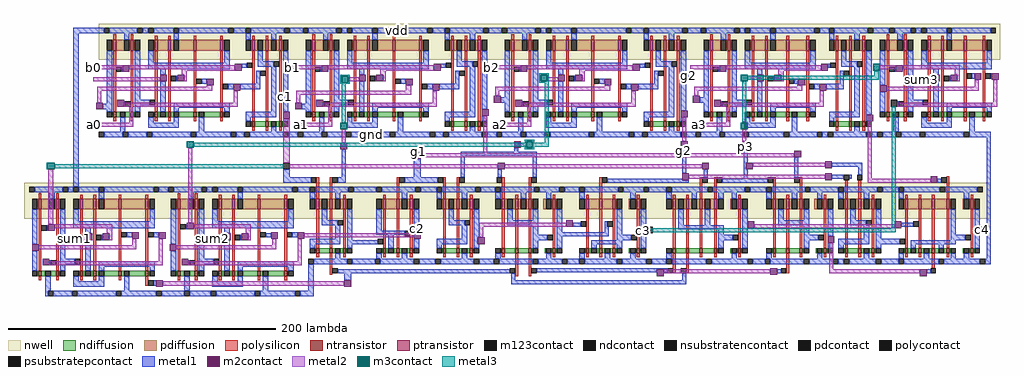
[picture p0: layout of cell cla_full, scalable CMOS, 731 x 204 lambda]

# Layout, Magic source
magic
tech scmos
<< nwell >>
rect -125 123 550 150
rect -181 4 543 31
<< ntransistor >>
rect -114 80 -112 84
rect -101 80 -99 84
rect -83 80 -81 84
rect -73 80 -71 84
rect -54 80 -52 84
rect -34 80 -32 84
rect 35 80 37 84
rect 48 80 50 84
rect 66 80 68 84
rect 76 80 78 84
rect 95 80 97 84
rect 115 80 117 84
rect 184 80 186 84
rect 197 80 199 84
rect 215 80 217 84
rect 225 80 227 84
rect 244 80 246 84
rect 264 80 266 84
rect 333 80 335 84
rect 346 80 348 84
rect 364 80 366 84
rect 374 80 376 84
rect 390 80 392 84
rect 405 80 407 84
rect 465 80 467 84
rect 478 80 480 84
rect 496 80 498 84
rect 506 80 508 84
rect 523 80 525 84
rect 537 80 539 84
rect -10 73 -8 77
rect 0 73 2 77
rect 10 73 12 77
rect 139 73 141 77
rect 149 73 151 77
rect 159 73 161 77
rect 288 73 290 77
rect 298 73 300 77
rect 308 73 310 77
rect 427 73 429 77
rect 437 73 439 77
rect 447 73 449 77
rect 38 -22 40 -18
rect 48 -22 50 -18
rect 58 -22 60 -18
rect 88 -22 90 -18
rect 98 -22 100 -18
rect 108 -22 110 -18
rect 133 -22 135 -18
rect 143 -22 145 -18
rect 153 -22 155 -18
rect 177 -22 179 -18
rect 187 -22 189 -18
rect 197 -22 199 -18
rect 215 -22 217 -18
rect 240 -22 242 -18
rect 250 -22 252 -18
rect 260 -22 262 -18
rect 278 -22 280 -18
rect 305 -22 307 -18
rect 315 -22 317 -18
rect 325 -22 327 -18
rect 336 -22 338 -18
rect 354 -22 356 -18
rect 380 -22 382 -18
rect 390 -22 392 -18
rect 400 -22 402 -18
rect 418 -22 420 -18
rect 434 -22 436 -18
rect 444 -22 446 -18
rect 454 -22 456 -18
rect 479 -22 481 -18
rect 489 -22 491 -18
rect 499 -22 501 -18
rect 510 -22 512 -18
rect 528 -22 530 -18
rect -170 -39 -168 -35
rect -157 -39 -155 -35
rect -139 -39 -137 -35
rect -129 -39 -127 -35
rect -110 -39 -108 -35
rect -90 -39 -88 -35
rect -66 -39 -64 -35
rect -53 -39 -51 -35
rect -35 -39 -33 -35
rect -25 -39 -23 -35
rect -6 -39 -4 -35
rect 14 -39 16 -35
<< ptransistor >>
rect -114 130 -112 138
rect -101 130 -99 138
rect -83 130 -81 138
rect -73 130 -71 138
rect -54 130 -52 138
rect -34 130 -32 138
rect -10 130 -8 138
rect 0 130 2 138
rect 10 130 12 138
rect 35 130 37 138
rect 48 130 50 138
rect 66 130 68 138
rect 76 130 78 138
rect 95 130 97 138
rect 115 130 117 138
rect 139 130 141 138
rect 149 130 151 138
rect 159 130 161 138
rect 184 130 186 138
rect 197 130 199 138
rect 215 130 217 138
rect 225 130 227 138
rect 244 130 246 138
rect 264 130 266 138
rect 288 130 290 138
rect 298 130 300 138
rect 308 130 310 138
rect 333 130 335 138
rect 346 130 348 138
rect 364 130 366 138
rect 374 130 376 138
rect 390 130 392 138
rect 405 130 407 138
rect 427 130 429 138
rect 437 130 439 138
rect 447 130 449 138
rect 465 130 467 138
rect 478 130 480 138
rect 496 130 498 138
rect 506 130 508 138
rect 523 130 525 138
rect 537 130 539 138
rect -170 11 -168 19
rect -157 11 -155 19
rect -139 11 -137 19
rect -129 11 -127 19
rect -110 11 -108 19
rect -90 11 -88 19
rect -66 11 -64 19
rect -53 11 -51 19
rect -35 11 -33 19
rect -25 11 -23 19
rect -6 11 -4 19
rect 14 11 16 19
rect 38 11 40 19
rect 48 11 50 19
rect 58 11 60 19
rect 88 11 90 19
rect 98 11 100 19
rect 108 11 110 19
rect 133 11 135 19
rect 143 11 145 19
rect 153 11 155 19
rect 177 11 179 19
rect 187 11 189 19
rect 197 11 199 19
rect 215 11 217 19
rect 240 11 242 19
rect 250 11 252 19
rect 260 11 262 19
rect 278 11 280 19
rect 305 11 307 19
rect 315 11 317 19
rect 325 11 327 19
rect 336 11 338 19
rect 354 11 356 19
rect 380 11 382 19
rect 390 11 392 19
rect 400 11 402 19
rect 418 11 420 19
rect 434 11 436 19
rect 444 11 446 19
rect 454 11 456 19
rect 479 11 481 19
rect 489 11 491 19
rect 499 11 501 19
rect 510 11 512 19
rect 528 11 530 19
<< ndiffusion >>
rect -115 80 -114 84
rect -112 80 -109 84
rect -105 80 -101 84
rect -99 80 -98 84
rect -84 80 -83 84
rect -81 80 -79 84
rect -75 80 -73 84
rect -71 80 -69 84
rect -65 80 -54 84
rect -52 80 -50 84
rect -46 80 -34 84
rect -32 80 -31 84
rect 34 80 35 84
rect 37 80 40 84
rect 44 80 48 84
rect 50 80 51 84
rect 65 80 66 84
rect 68 80 70 84
rect 74 80 76 84
rect 78 80 80 84
rect 84 80 95 84
rect 97 80 99 84
rect 103 80 115 84
rect 117 80 118 84
rect 183 80 184 84
rect 186 80 189 84
rect 193 80 197 84
rect 199 80 200 84
rect 214 80 215 84
rect 217 80 219 84
rect 223 80 225 84
rect 227 80 229 84
rect 233 80 244 84
rect 246 80 248 84
rect 252 80 264 84
rect 266 80 267 84
rect 332 80 333 84
rect 335 80 338 84
rect 342 80 346 84
rect 348 80 349 84
rect 363 80 364 84
rect 366 80 368 84
rect 372 80 374 84
rect 376 80 378 84
rect 382 80 390 84
rect 392 80 394 84
rect 398 80 405 84
rect 407 80 408 84
rect 464 80 465 84
rect 467 80 470 84
rect 474 80 478 84
rect 480 80 481 84
rect 495 80 496 84
rect 498 80 500 84
rect 504 80 506 84
rect 508 80 510 84
rect 514 80 523 84
rect 525 80 527 84
rect 531 80 537 84
rect 539 80 540 84
rect -11 73 -10 77
rect -8 73 0 77
rect 2 73 4 77
rect 8 73 10 77
rect 12 73 13 77
rect 138 73 139 77
rect 141 73 149 77
rect 151 73 153 77
rect 157 73 159 77
rect 161 73 162 77
rect 287 73 288 77
rect 290 73 298 77
rect 300 73 302 77
rect 306 73 308 77
rect 310 73 311 77
rect 426 73 427 77
rect 429 73 437 77
rect 439 73 441 77
rect 445 73 447 77
rect 449 73 450 77
rect 37 -22 38 -18
rect 40 -22 48 -18
rect 50 -22 52 -18
rect 56 -22 58 -18
rect 60 -22 61 -18
rect 87 -22 88 -18
rect 90 -22 92 -18
rect 96 -22 98 -18
rect 100 -22 102 -18
rect 106 -22 108 -18
rect 110 -22 111 -18
rect 132 -22 133 -18
rect 135 -22 143 -18
rect 145 -22 147 -18
rect 151 -22 153 -18
rect 155 -22 156 -18
rect 176 -22 177 -18
rect 179 -22 187 -18
rect 189 -22 197 -18
rect 199 -22 200 -18
rect 209 -22 210 -18
rect 214 -22 215 -18
rect 217 -22 218 -18
rect 239 -22 240 -18
rect 242 -22 244 -18
rect 248 -22 250 -18
rect 252 -22 254 -18
rect 258 -22 260 -18
rect 262 -22 263 -18
rect 272 -22 273 -18
rect 277 -22 278 -18
rect 280 -22 281 -18
rect 304 -22 305 -18
rect 307 -22 315 -18
rect 317 -22 325 -18
rect 327 -22 336 -18
rect 338 -22 339 -18
rect 348 -22 349 -18
rect 353 -22 354 -18
rect 356 -22 357 -18
rect 379 -22 380 -18
rect 382 -22 390 -18
rect 392 -22 400 -18
rect 402 -22 403 -18
rect 412 -22 413 -18
rect 417 -22 418 -18
rect 420 -22 421 -18
rect 433 -22 434 -18
rect 436 -22 444 -18
rect 446 -22 448 -18
rect 452 -22 454 -18
rect 456 -22 457 -18
rect 478 -22 479 -18
rect 481 -22 483 -18
rect 487 -22 489 -18
rect 491 -22 493 -18
rect 497 -22 499 -18
rect 501 -22 504 -18
rect 508 -22 510 -18
rect 512 -22 513 -18
rect 522 -22 523 -18
rect 527 -22 528 -18
rect 530 -22 531 -18
rect -171 -39 -170 -35
rect -168 -39 -165 -35
rect -161 -39 -157 -35
rect -155 -39 -154 -35
rect -140 -39 -139 -35
rect -137 -39 -135 -35
rect -131 -39 -129 -35
rect -127 -39 -125 -35
rect -121 -39 -110 -35
rect -108 -39 -106 -35
rect -102 -39 -90 -35
rect -88 -39 -87 -35
rect -67 -39 -66 -35
rect -64 -39 -61 -35
rect -57 -39 -53 -35
rect -51 -39 -50 -35
rect -36 -39 -35 -35
rect -33 -39 -31 -35
rect -27 -39 -25 -35
rect -23 -39 -21 -35
rect -17 -39 -6 -35
rect -4 -39 -2 -35
rect 2 -39 14 -35
rect 16 -39 17 -35
<< pdiffusion >>
rect -115 130 -114 138
rect -112 130 -106 138
rect -102 130 -101 138
rect -99 130 -98 138
rect -84 130 -83 138
rect -81 130 -73 138
rect -71 130 -69 138
rect -65 130 -54 138
rect -52 130 -34 138
rect -32 130 -31 138
rect -11 130 -10 138
rect -8 130 -6 138
rect -2 130 0 138
rect 2 130 4 138
rect 8 130 10 138
rect 12 130 13 138
rect 34 130 35 138
rect 37 130 43 138
rect 47 130 48 138
rect 50 130 51 138
rect 65 130 66 138
rect 68 130 76 138
rect 78 130 80 138
rect 84 130 95 138
rect 97 130 115 138
rect 117 130 118 138
rect 138 130 139 138
rect 141 130 143 138
rect 147 130 149 138
rect 151 130 153 138
rect 157 130 159 138
rect 161 130 162 138
rect 183 130 184 138
rect 186 130 192 138
rect 196 130 197 138
rect 199 130 200 138
rect 214 130 215 138
rect 217 130 225 138
rect 227 130 229 138
rect 233 130 244 138
rect 246 130 264 138
rect 266 130 267 138
rect 287 130 288 138
rect 290 130 292 138
rect 296 130 298 138
rect 300 130 302 138
rect 306 130 308 138
rect 310 130 311 138
rect 332 130 333 138
rect 335 130 341 138
rect 345 130 346 138
rect 348 130 349 138
rect 363 130 364 138
rect 366 130 374 138
rect 376 130 378 138
rect 382 130 390 138
rect 392 130 405 138
rect 407 130 408 138
rect 426 130 427 138
rect 429 130 431 138
rect 435 130 437 138
rect 439 130 441 138
rect 445 130 447 138
rect 449 130 450 138
rect 464 130 465 138
rect 467 130 473 138
rect 477 130 478 138
rect 480 130 481 138
rect 495 130 496 138
rect 498 130 506 138
rect 508 130 510 138
rect 514 130 523 138
rect 525 130 537 138
rect 539 130 540 138
rect -171 11 -170 19
rect -168 11 -162 19
rect -158 11 -157 19
rect -155 11 -154 19
rect -140 11 -139 19
rect -137 11 -129 19
rect -127 11 -125 19
rect -121 11 -110 19
rect -108 11 -90 19
rect -88 11 -87 19
rect -67 11 -66 19
rect -64 11 -58 19
rect -54 11 -53 19
rect -51 11 -50 19
rect -36 11 -35 19
rect -33 11 -25 19
rect -23 11 -21 19
rect -17 11 -6 19
rect -4 11 14 19
rect 16 11 17 19
rect 37 11 38 19
rect 40 11 42 19
rect 46 11 48 19
rect 50 11 52 19
rect 56 11 58 19
rect 60 11 61 19
rect 87 11 88 19
rect 90 11 98 19
rect 100 11 102 19
rect 106 11 108 19
rect 110 11 111 19
rect 132 11 133 19
rect 135 11 137 19
rect 141 11 143 19
rect 145 11 147 19
rect 151 11 153 19
rect 155 11 156 19
rect 176 11 177 19
rect 179 11 181 19
rect 185 11 187 19
rect 189 11 191 19
rect 195 11 197 19
rect 199 11 200 19
rect 208 11 210 19
rect 214 11 215 19
rect 217 11 218 19
rect 239 11 240 19
rect 242 11 250 19
rect 252 11 260 19
rect 262 11 263 19
rect 272 11 273 19
rect 277 11 278 19
rect 280 11 281 19
rect 304 11 305 19
rect 307 11 309 19
rect 313 11 315 19
rect 317 11 319 19
rect 323 11 325 19
rect 327 11 329 19
rect 333 11 336 19
rect 338 11 339 19
rect 348 11 349 19
rect 353 11 354 19
rect 356 11 357 19
rect 379 11 380 19
rect 382 11 384 19
rect 388 11 390 19
rect 392 11 394 19
rect 398 11 400 19
rect 402 11 403 19
rect 411 11 413 19
rect 417 11 418 19
rect 420 11 421 19
rect 433 11 434 19
rect 436 11 438 19
rect 442 11 444 19
rect 446 11 448 19
rect 452 11 454 19
rect 456 11 457 19
rect 478 11 479 19
rect 481 11 489 19
rect 491 11 499 19
rect 501 11 510 19
rect 512 11 513 19
rect 522 11 523 19
rect 527 11 528 19
rect 530 11 531 19
<< ndcontact >>
rect -119 80 -115 84
rect -109 80 -105 84
rect -98 80 -94 84
rect -88 80 -84 84
rect -79 80 -75 84
rect -69 80 -65 84
rect -50 80 -46 84
rect -31 80 -27 84
rect 30 80 34 84
rect 40 80 44 84
rect 51 80 55 84
rect 61 80 65 84
rect 70 80 74 84
rect 80 80 84 84
rect 99 80 103 84
rect 118 80 122 84
rect 179 80 183 84
rect 189 80 193 84
rect 200 80 204 84
rect 210 80 214 84
rect 219 80 223 84
rect 229 80 233 84
rect 248 80 252 84
rect 267 80 271 84
rect 328 80 332 84
rect 338 80 342 84
rect 349 80 353 84
rect 359 80 363 84
rect 368 80 372 84
rect 378 80 382 84
rect 394 80 398 84
rect 408 80 412 84
rect 460 80 464 84
rect 470 80 474 84
rect 481 80 485 84
rect 491 80 495 84
rect 500 80 504 84
rect 510 80 514 84
rect 527 80 531 84
rect 540 80 544 84
rect -15 73 -11 77
rect 4 73 8 77
rect 13 73 17 77
rect 134 73 138 77
rect 153 73 157 77
rect 162 73 166 77
rect 283 73 287 77
rect 302 73 306 77
rect 311 73 315 77
rect 422 73 426 77
rect 441 73 445 77
rect 450 73 454 77
rect 33 -22 37 -18
rect 52 -22 56 -18
rect 61 -22 65 -18
rect 83 -22 87 -18
rect 92 -22 96 -18
rect 102 -22 106 -18
rect 111 -22 115 -18
rect 128 -22 132 -18
rect 147 -22 151 -18
rect 156 -22 160 -18
rect 172 -22 176 -18
rect 200 -22 204 -18
rect 210 -22 214 -18
rect 218 -22 222 -18
rect 235 -22 239 -18
rect 244 -22 248 -18
rect 254 -22 258 -18
rect 263 -22 267 -18
rect 273 -22 277 -18
rect 281 -22 285 -18
rect 300 -22 304 -18
rect 339 -22 343 -18
rect 349 -22 353 -18
rect 357 -22 361 -18
rect 375 -22 379 -18
rect 403 -22 407 -18
rect 413 -22 417 -18
rect 421 -22 425 -18
rect 429 -22 433 -18
rect 448 -22 452 -18
rect 457 -22 461 -18
rect 474 -22 478 -18
rect 483 -22 487 -18
rect 493 -22 497 -18
rect 504 -22 508 -18
rect 513 -22 517 -18
rect 523 -22 527 -18
rect 531 -22 535 -18
rect -175 -39 -171 -35
rect -165 -39 -161 -35
rect -154 -39 -150 -35
rect -144 -39 -140 -35
rect -135 -39 -131 -35
rect -125 -39 -121 -35
rect -106 -39 -102 -35
rect -87 -39 -83 -35
rect -71 -39 -67 -35
rect -61 -39 -57 -35
rect -50 -39 -46 -35
rect -40 -39 -36 -35
rect -31 -39 -27 -35
rect -21 -39 -17 -35
rect -2 -39 2 -35
rect 17 -39 21 -35
<< pdcontact >>
rect -119 130 -115 138
rect -106 130 -102 138
rect -98 130 -94 138
rect -88 130 -84 138
rect -69 130 -65 138
rect -31 130 -27 138
rect -15 130 -11 138
rect -6 130 -2 138
rect 4 130 8 138
rect 13 130 17 138
rect 30 130 34 138
rect 43 130 47 138
rect 51 130 55 138
rect 61 130 65 138
rect 80 130 84 138
rect 118 130 122 138
rect 134 130 138 138
rect 143 130 147 138
rect 153 130 157 138
rect 162 130 166 138
rect 179 130 183 138
rect 192 130 196 138
rect 200 130 204 138
rect 210 130 214 138
rect 229 130 233 138
rect 267 130 271 138
rect 283 130 287 138
rect 292 130 296 138
rect 302 130 306 138
rect 311 130 315 138
rect 328 130 332 138
rect 341 130 345 138
rect 349 130 353 138
rect 359 130 363 138
rect 378 130 382 138
rect 408 130 412 138
rect 422 130 426 138
rect 431 130 435 138
rect 441 130 445 138
rect 450 130 454 138
rect 460 130 464 138
rect 473 130 477 138
rect 481 130 485 138
rect 491 130 495 138
rect 510 130 514 138
rect 540 130 544 138
rect -175 11 -171 19
rect -162 11 -158 19
rect -154 11 -150 19
rect -144 11 -140 19
rect -125 11 -121 19
rect -87 11 -83 19
rect -71 11 -67 19
rect -58 11 -54 19
rect -50 11 -46 19
rect -40 11 -36 19
rect -21 11 -17 19
rect 17 11 21 19
rect 33 11 37 19
rect 42 11 46 19
rect 52 11 56 19
rect 61 11 65 19
rect 83 11 87 19
rect 102 11 106 19
rect 111 11 115 19
rect 128 11 132 19
rect 137 11 141 19
rect 147 11 151 19
rect 156 11 160 19
rect 172 11 176 19
rect 181 11 185 19
rect 191 11 195 19
rect 200 11 204 19
rect 210 11 214 19
rect 218 11 222 19
rect 235 11 239 19
rect 263 11 267 19
rect 273 11 277 19
rect 281 11 285 19
rect 300 11 304 19
rect 309 11 313 19
rect 319 11 323 19
rect 329 11 333 19
rect 339 11 343 19
rect 349 11 353 19
rect 357 11 361 19
rect 375 11 379 19
rect 384 11 388 19
rect 394 11 398 19
rect 403 11 407 19
rect 413 11 417 19
rect 421 11 425 19
rect 429 11 433 19
rect 438 11 442 19
rect 448 11 452 19
rect 457 11 461 19
rect 474 11 478 19
rect 513 11 517 19
rect 523 11 527 19
rect 531 11 535 19
<< psubstratepcontact >>
rect -125 65 -121 69
rect -107 65 -103 69
rect -89 65 -85 69
rect -56 65 -52 69
rect -26 65 -22 69
rect -16 65 -12 69
rect 13 65 17 69
rect 24 65 28 69
rect 42 65 46 69
rect 60 65 64 69
rect 93 65 97 69
rect 123 65 127 69
rect 133 65 137 69
rect 162 65 166 69
rect 173 65 177 69
rect 191 65 195 69
rect 209 65 213 69
rect 242 65 246 69
rect 272 65 276 69
rect 282 65 286 69
rect 311 65 315 69
rect 322 65 326 69
rect 340 65 344 69
rect 358 65 362 69
rect 388 65 392 69
rect 413 65 417 69
rect 421 65 425 69
rect 450 65 454 69
rect 458 65 462 69
rect 472 65 476 69
rect 490 65 494 69
rect 523 65 527 69
rect 32 -30 36 -26
rect 61 -30 65 -26
rect 82 -30 86 -26
rect 111 -30 115 -26
rect 127 -30 131 -26
rect 156 -30 160 -26
rect 171 -30 175 -26
rect 200 -30 204 -26
rect 222 -30 226 -26
rect 235 -30 239 -26
rect 263 -30 267 -26
rect 285 -30 289 -26
rect 300 -30 304 -26
rect 330 -30 334 -26
rect 361 -30 365 -26
rect 374 -30 378 -26
rect 403 -30 407 -26
rect 425 -30 429 -26
rect 433 -30 437 -26
rect 457 -30 461 -26
rect 474 -30 478 -26
rect 504 -30 508 -26
rect 535 -30 539 -26
rect -163 -54 -159 -50
rect -145 -54 -141 -50
rect -112 -54 -108 -50
rect -82 -54 -78 -50
rect -61 -54 -57 -50
rect -41 -54 -37 -50
rect -8 -54 -4 -50
rect 22 -54 26 -50
<< nsubstratencontact >>
rect -121 143 -117 147
rect -96 143 -92 147
rect -88 143 -84 147
rect -69 143 -65 147
rect -28 143 -24 147
rect -15 143 -11 147
rect 14 143 18 147
rect 28 143 32 147
rect 53 143 57 147
rect 61 143 65 147
rect 80 143 84 147
rect 121 143 125 147
rect 134 143 138 147
rect 163 143 167 147
rect 177 143 181 147
rect 202 143 206 147
rect 210 143 214 147
rect 229 143 233 147
rect 270 143 274 147
rect 283 143 287 147
rect 312 143 316 147
rect 326 143 330 147
rect 351 143 355 147
rect 359 143 363 147
rect 378 143 382 147
rect 411 143 415 147
rect 422 143 426 147
rect 451 143 455 147
rect 467 143 471 147
rect 483 143 487 147
rect 491 143 495 147
rect 510 143 514 147
rect 543 143 547 147
rect -177 24 -173 28
rect -152 24 -148 28
rect -144 24 -140 28
rect -125 24 -121 28
rect -84 24 -80 28
rect -73 24 -69 28
rect -48 24 -44 28
rect -40 24 -36 28
rect -21 24 -17 28
rect 20 24 24 28
rect 33 24 37 28
rect 62 24 66 28
rect 83 24 87 28
rect 112 24 116 28
rect 128 24 132 28
rect 157 24 161 28
rect 172 24 176 28
rect 201 24 205 28
rect 220 24 224 28
rect 235 24 239 28
rect 264 24 268 28
rect 283 24 287 28
rect 300 24 304 28
rect 331 24 335 28
rect 359 24 363 28
rect 375 24 379 28
rect 404 24 408 28
rect 429 24 433 28
rect 458 24 462 28
rect 474 24 478 28
rect 505 24 509 28
rect 533 24 537 28
<< polysilicon >>
rect -114 138 -112 142
rect -101 138 -99 142
rect -83 138 -81 141
rect -73 138 -71 141
rect -54 138 -52 141
rect -34 138 -32 141
rect -10 138 -8 141
rect 0 138 2 141
rect 10 138 12 141
rect 35 138 37 142
rect 48 138 50 142
rect 66 138 68 141
rect 76 138 78 141
rect 95 138 97 141
rect 115 138 117 141
rect 139 138 141 141
rect 149 138 151 141
rect 159 138 161 141
rect 184 138 186 142
rect 197 138 199 142
rect 215 138 217 141
rect 225 138 227 141
rect 244 138 246 141
rect 264 138 266 141
rect 288 138 290 141
rect 298 138 300 141
rect 308 138 310 141
rect 333 138 335 142
rect 346 138 348 142
rect 364 138 366 141
rect 374 138 376 141
rect 390 138 392 141
rect 405 138 407 141
rect 427 138 429 141
rect 437 138 439 141
rect 447 138 449 141
rect 465 138 467 142
rect 478 138 480 142
rect 496 138 498 141
rect 506 138 508 141
rect 523 138 525 141
rect 537 138 539 141
rect -114 84 -112 130
rect -101 84 -99 130
rect -83 84 -81 130
rect -73 84 -71 130
rect -54 84 -52 130
rect -34 84 -32 130
rect -114 77 -112 80
rect -101 77 -99 80
rect -83 77 -81 80
rect -73 77 -71 80
rect -54 77 -52 80
rect -34 77 -32 80
rect -10 77 -8 130
rect 0 77 2 130
rect 10 77 12 130
rect 35 84 37 130
rect 48 84 50 130
rect 66 84 68 130
rect 76 84 78 130
rect 95 84 97 130
rect 115 84 117 130
rect 35 77 37 80
rect 48 77 50 80
rect 66 77 68 80
rect 76 77 78 80
rect 95 77 97 80
rect 115 77 117 80
rect 139 77 141 130
rect 149 77 151 130
rect 159 77 161 130
rect 184 84 186 130
rect 197 84 199 130
rect 215 84 217 130
rect 225 84 227 130
rect 244 84 246 130
rect 264 84 266 130
rect 184 77 186 80
rect 197 77 199 80
rect 215 77 217 80
rect 225 77 227 80
rect 244 77 246 80
rect 264 77 266 80
rect 288 77 290 130
rect 298 77 300 130
rect 308 77 310 130
rect 333 84 335 130
rect 346 84 348 130
rect 364 84 366 130
rect 374 84 376 130
rect 390 84 392 130
rect 405 84 407 130
rect 333 77 335 80
rect 346 77 348 80
rect 364 77 366 80
rect 374 77 376 80
rect 390 77 392 80
rect 405 77 407 80
rect 427 77 429 130
rect 437 77 439 130
rect 447 77 449 130
rect 465 84 467 130
rect 478 84 480 130
rect 496 84 498 130
rect 506 84 508 130
rect 523 84 525 130
rect 537 84 539 130
rect 465 77 467 80
rect 478 77 480 80
rect 496 77 498 80
rect 506 77 508 80
rect 523 77 525 80
rect 537 77 539 80
rect -10 70 -8 73
rect 0 70 2 73
rect 10 70 12 73
rect 139 70 141 73
rect 149 70 151 73
rect 159 70 161 73
rect 288 70 290 73
rect 298 70 300 73
rect 308 70 310 73
rect 427 70 429 73
rect 437 70 439 73
rect 447 70 449 73
rect -170 19 -168 23
rect -157 19 -155 23
rect -139 19 -137 22
rect -129 19 -127 22
rect -110 19 -108 22
rect -90 19 -88 22
rect -66 19 -64 23
rect -53 19 -51 23
rect -35 19 -33 22
rect -25 19 -23 22
rect -6 19 -4 22
rect 14 19 16 22
rect 38 19 40 35
rect 48 19 50 35
rect 58 19 60 22
rect 88 19 90 22
rect 98 19 100 35
rect 108 19 110 22
rect 133 19 135 35
rect 143 19 145 35
rect 153 19 155 22
rect 177 19 179 35
rect 187 19 189 22
rect 197 19 199 35
rect 215 19 217 22
rect 240 19 242 22
rect 250 19 252 35
rect 260 19 262 22
rect 278 19 280 22
rect 305 19 307 22
rect 315 19 317 22
rect 325 19 327 35
rect 336 19 338 35
rect 354 19 356 22
rect 380 19 382 35
rect 390 19 392 22
rect 400 19 402 35
rect 418 19 420 22
rect 434 19 436 33
rect 444 19 446 33
rect 454 19 456 22
rect 479 19 481 22
rect 489 19 491 22
rect 499 19 501 22
rect 510 19 512 36
rect 528 19 530 22
rect -170 -35 -168 11
rect -157 -35 -155 11
rect -139 -35 -137 11
rect -129 -35 -127 11
rect -110 -35 -108 11
rect -90 -35 -88 11
rect -66 -35 -64 11
rect -53 -35 -51 11
rect -35 -35 -33 11
rect -25 -35 -23 11
rect -6 -35 -4 11
rect 14 -35 16 11
rect 38 -18 40 11
rect 48 -18 50 11
rect 58 -18 60 11
rect 88 -18 90 11
rect 98 -18 100 11
rect 108 -18 110 11
rect 133 -18 135 11
rect 143 -18 145 11
rect 153 -18 155 11
rect 177 -18 179 11
rect 187 -18 189 11
rect 197 -18 199 11
rect 215 -18 217 11
rect 240 -18 242 11
rect 250 -18 252 11
rect 260 -18 262 11
rect 278 -18 280 11
rect 305 -18 307 11
rect 315 -18 317 11
rect 325 -18 327 11
rect 336 -18 338 11
rect 354 -18 356 11
rect 380 -18 382 11
rect 390 -18 392 11
rect 400 -18 402 11
rect 418 -18 420 11
rect 434 -18 436 11
rect 444 -18 446 11
rect 454 -18 456 11
rect 479 -18 481 11
rect 489 -18 491 11
rect 499 -18 501 11
rect 510 -18 512 11
rect 528 -18 530 11
rect 38 -25 40 -22
rect 48 -38 50 -22
rect 58 -25 60 -22
rect 88 -25 90 -22
rect 98 -25 100 -22
rect 108 -25 110 -22
rect 133 -25 135 -22
rect 143 -25 145 -22
rect 153 -25 155 -22
rect 177 -25 179 -22
rect 187 -39 189 -22
rect 197 -39 199 -22
rect 215 -25 217 -22
rect 240 -25 242 -22
rect 250 -25 252 -22
rect 260 -25 262 -22
rect 278 -25 280 -22
rect 305 -37 307 -22
rect 315 -37 317 -22
rect 325 -25 327 -22
rect 336 -25 338 -22
rect 354 -25 356 -22
rect 380 -25 382 -22
rect 390 -37 392 -22
rect 400 -25 402 -22
rect 418 -25 420 -22
rect 434 -25 436 -22
rect 444 -25 446 -22
rect 454 -25 456 -22
rect 479 -25 481 -22
rect 489 -25 491 -22
rect 499 -33 501 -22
rect 510 -25 512 -22
rect 528 -25 530 -22
rect -170 -42 -168 -39
rect -157 -42 -155 -39
rect -139 -42 -137 -39
rect -129 -42 -127 -39
rect -110 -42 -108 -39
rect -90 -46 -88 -39
rect -66 -42 -64 -39
rect -53 -42 -51 -39
rect -35 -42 -33 -39
rect -25 -42 -23 -39
rect -6 -42 -4 -39
rect 14 -42 16 -39
<< polycontact >>
rect -112 114 -108 118
rect -105 88 -101 92
rect -87 89 -83 93
rect -71 107 -67 111
rect -52 105 -48 109
rect -14 117 -10 121
rect -32 101 -28 105
rect -4 111 0 115
rect 6 118 10 122
rect 37 114 41 118
rect 44 88 48 92
rect 62 89 66 93
rect 78 107 82 111
rect 97 105 101 109
rect 135 117 139 121
rect 117 101 121 105
rect 145 111 149 115
rect 155 118 159 122
rect 186 114 190 118
rect 193 88 197 92
rect 211 89 215 93
rect 227 107 231 111
rect 246 105 250 109
rect 284 117 288 121
rect 266 101 270 105
rect 294 111 298 115
rect 304 118 308 122
rect 335 114 339 118
rect 342 88 346 92
rect 360 89 364 93
rect 376 107 380 111
rect 392 105 396 109
rect 423 117 427 121
rect 407 101 411 105
rect 433 111 437 115
rect 443 118 447 122
rect 467 114 471 118
rect 474 88 478 92
rect 492 89 496 93
rect 508 107 512 111
rect 525 109 529 113
rect 539 109 543 113
rect 34 31 38 35
rect 50 31 54 35
rect 100 31 104 35
rect 129 31 133 35
rect 145 31 149 35
rect 173 31 177 35
rect 199 31 203 35
rect 252 31 256 35
rect 327 31 331 35
rect 338 31 342 35
rect 376 31 380 35
rect 396 31 400 35
rect 433 33 437 37
rect 443 33 447 37
rect 506 31 510 35
rect -168 -5 -164 -1
rect -161 -31 -157 -27
rect -143 -30 -139 -26
rect -127 -12 -123 -8
rect -108 -10 -104 -6
rect -88 -10 -84 -6
rect -64 -4 -60 0
rect -57 -31 -53 -27
rect -39 -30 -35 -26
rect -23 -12 -19 -8
rect -4 -10 0 -6
rect 16 -10 20 -6
rect 54 -1 58 3
rect 84 -15 88 -11
rect 104 -9 108 -5
rect 149 -1 153 3
rect 211 -12 215 -8
rect 236 -2 240 2
rect 256 -2 260 2
rect 274 -12 278 -8
rect 350 -12 354 -8
rect 414 -12 418 -8
rect 450 -1 454 3
rect 475 -15 479 -11
rect 485 -2 489 2
rect 524 -12 528 -8
rect 50 -37 54 -33
rect 183 -37 187 -33
rect 199 -37 203 -33
rect 301 -37 305 -33
rect 311 -37 315 -33
rect 386 -37 390 -33
rect 498 -37 502 -33
rect -88 -46 -84 -42
<< metal1 >>
rect -144 143 -121 147
rect -117 143 -96 147
rect -92 143 -88 147
rect -84 143 -69 147
rect -65 143 -28 147
rect -24 143 -15 147
rect -11 143 14 147
rect 18 143 28 147
rect 32 143 53 147
rect 57 143 61 147
rect 65 143 80 147
rect 84 143 121 147
rect 125 143 134 147
rect 138 143 163 147
rect 167 143 177 147
rect 181 143 202 147
rect 206 143 210 147
rect 214 143 229 147
rect 233 143 270 147
rect 274 143 283 147
rect 287 143 312 147
rect 316 143 326 147
rect 330 143 351 147
rect 355 143 359 147
rect 363 143 378 147
rect 382 143 411 147
rect 415 143 422 147
rect 426 143 451 147
rect 455 143 467 147
rect 471 143 483 147
rect 487 143 491 147
rect 495 143 510 147
rect 514 143 543 147
rect -144 28 -140 143
rect -106 138 -102 143
rect -69 138 -65 143
rect -15 138 -11 143
rect 4 138 8 143
rect 43 138 47 143
rect 80 138 84 143
rect 134 138 138 143
rect 153 138 157 143
rect 192 138 196 143
rect 229 138 233 143
rect 283 138 287 143
rect 302 138 306 143
rect 341 138 345 143
rect 378 138 382 143
rect 422 138 426 143
rect 441 138 445 143
rect 473 138 477 143
rect 510 138 514 143
rect -119 90 -115 130
rect -108 114 -107 118
rect -98 93 -94 130
rect -88 121 -84 130
rect -31 121 -27 130
rect -6 122 -2 130
rect -88 116 -27 121
rect -79 112 -75 116
rect -18 117 -14 120
rect -6 118 6 122
rect -67 107 -66 111
rect -122 86 -115 90
rect -106 88 -105 92
rect -98 89 -87 93
rect -119 84 -115 86
rect -98 84 -94 89
rect -79 84 -75 107
rect -48 105 -44 109
rect -7 105 -4 115
rect -28 101 -24 105
rect -19 101 -4 105
rect -69 87 -27 91
rect -69 84 -65 87
rect -31 84 -27 87
rect 4 84 8 118
rect -109 69 -105 80
rect -88 76 -84 80
rect -69 76 -65 80
rect -88 72 -65 76
rect -15 80 8 84
rect 13 84 17 130
rect 30 90 34 130
rect 41 114 42 118
rect 51 93 55 130
rect 61 121 65 130
rect 118 121 122 130
rect 143 122 147 130
rect 61 116 122 121
rect 70 112 74 116
rect 131 117 135 120
rect 143 118 155 122
rect 82 107 83 111
rect 27 86 34 90
rect 43 88 44 92
rect 51 89 62 93
rect 30 84 34 86
rect 51 84 55 89
rect 70 84 74 107
rect 101 105 105 109
rect 142 105 145 115
rect 121 101 125 105
rect 130 101 145 105
rect -50 69 -46 80
rect -15 77 -11 80
rect 80 87 122 91
rect 80 84 84 87
rect 118 84 122 87
rect 153 84 157 118
rect 13 77 17 79
rect 4 69 8 73
rect 40 69 44 80
rect 61 76 65 80
rect 80 76 84 80
rect 61 72 84 76
rect 134 80 157 84
rect 162 86 166 130
rect 179 95 183 130
rect 190 114 191 118
rect 176 91 183 95
rect 200 93 204 130
rect 210 121 214 130
rect 267 121 271 130
rect 292 122 296 130
rect 210 116 271 121
rect 219 112 223 116
rect 280 117 284 120
rect 292 118 304 122
rect 231 107 232 111
rect 179 84 183 91
rect 192 88 193 92
rect 200 89 211 93
rect 200 84 204 89
rect 219 84 223 107
rect 250 105 254 109
rect 291 105 294 115
rect 270 101 274 105
rect 279 101 294 105
rect 99 69 103 80
rect 134 77 138 80
rect 162 77 166 81
rect 229 87 271 91
rect 229 84 233 87
rect 267 84 271 87
rect 302 84 306 118
rect 153 69 157 73
rect 189 69 193 80
rect 210 76 214 80
rect 229 76 233 80
rect 210 72 233 76
rect 283 80 306 84
rect 311 113 315 130
rect 311 110 317 113
rect 311 85 315 110
rect 328 95 332 130
rect 339 114 340 118
rect 325 91 332 95
rect 349 93 353 130
rect 359 121 363 130
rect 408 121 412 130
rect 431 122 435 130
rect 359 116 412 121
rect 368 112 372 116
rect 421 117 423 120
rect 431 118 443 122
rect 380 107 381 111
rect 328 84 332 91
rect 341 88 342 92
rect 349 89 360 93
rect 349 84 353 89
rect 368 84 372 107
rect 396 105 399 109
rect 430 105 433 115
rect 411 101 415 105
rect 420 101 433 105
rect 378 87 412 91
rect 378 84 382 87
rect 408 84 412 87
rect 441 84 445 118
rect 248 69 252 80
rect 283 77 287 80
rect 311 77 315 80
rect 302 69 306 73
rect 338 69 342 80
rect 359 76 363 80
rect 378 76 382 80
rect 359 72 382 76
rect 422 80 445 84
rect 450 82 454 130
rect 460 104 464 130
rect 471 114 472 118
rect 460 84 464 99
rect 481 93 485 130
rect 491 121 495 130
rect 540 121 544 130
rect 491 116 544 121
rect 500 112 504 116
rect 512 107 513 111
rect 529 109 531 113
rect 543 109 544 113
rect 473 88 474 92
rect 481 89 492 93
rect 481 84 485 89
rect 500 84 504 107
rect 394 69 398 80
rect 422 77 426 80
rect 510 87 544 91
rect 510 84 514 87
rect 540 84 544 87
rect 441 69 445 73
rect 470 69 474 80
rect 491 76 495 80
rect 510 76 514 80
rect 491 72 514 76
rect 527 69 531 80
rect -121 65 -107 69
rect -103 65 -89 69
rect -85 65 -56 69
rect -52 65 -26 69
rect -22 65 -16 69
rect -12 65 13 69
rect 17 65 24 69
rect 28 65 42 69
rect 46 65 60 69
rect 64 65 93 69
rect 97 65 123 69
rect 127 65 133 69
rect 137 65 162 69
rect 166 65 173 69
rect 177 65 191 69
rect 195 65 209 69
rect 213 65 242 69
rect 246 65 272 69
rect 276 65 282 69
rect 286 65 311 69
rect 315 65 322 69
rect 326 65 340 69
rect 344 65 358 69
rect 362 65 388 69
rect 392 65 413 69
rect 417 65 421 69
rect 425 65 450 69
rect 454 65 458 69
rect 462 65 472 69
rect 476 65 490 69
rect 494 65 523 69
rect 527 65 543 69
rect 13 35 18 41
rect 57 35 60 56
rect 186 54 189 57
rect 111 35 116 49
rect 146 51 203 54
rect 146 35 149 51
rect 174 35 177 41
rect 200 35 203 51
rect 312 38 315 57
rect 358 46 361 57
rect 358 41 360 46
rect 13 31 34 35
rect 54 31 60 35
rect 104 31 129 35
rect 256 33 312 34
rect 328 35 331 41
rect 256 31 317 33
rect 358 34 361 41
rect 396 35 399 50
rect 424 43 447 46
rect 342 31 376 34
rect 444 37 447 43
rect 424 34 433 37
rect 437 34 439 37
rect 503 31 506 34
rect -173 24 -152 28
rect -148 24 -144 28
rect -140 24 -125 28
rect -121 24 -84 28
rect -80 24 -73 28
rect -69 24 -48 28
rect -44 24 -40 28
rect -36 24 -21 28
rect -17 24 20 28
rect 24 24 33 28
rect 37 24 62 28
rect 66 24 83 28
rect 87 24 112 28
rect 116 24 128 28
rect 132 24 157 28
rect 161 24 172 28
rect 176 24 201 28
rect 205 24 220 28
rect 224 24 235 28
rect 239 24 264 28
rect 268 24 283 28
rect 287 24 300 28
rect 304 24 331 28
rect 335 24 359 28
rect 363 24 375 28
rect 379 24 404 28
rect 408 24 429 28
rect 433 24 458 28
rect 462 24 474 28
rect 478 24 505 28
rect 509 24 533 28
rect -162 19 -158 24
rect -125 19 -121 24
rect -58 19 -54 24
rect -21 19 -17 24
rect 33 19 37 24
rect 52 19 56 24
rect 102 19 106 24
rect 128 19 132 24
rect 147 19 151 24
rect 172 19 176 24
rect 191 19 195 24
rect 210 19 214 24
rect 235 19 239 24
rect 273 19 277 24
rect 300 19 304 24
rect 319 19 323 24
rect 339 19 343 24
rect -175 -15 -171 11
rect -164 -5 -163 -1
rect -175 -35 -171 -20
rect -154 -26 -150 11
rect -144 2 -140 11
rect -87 2 -83 11
rect -144 -3 -83 2
rect -135 -7 -131 -3
rect -123 -12 -122 -8
rect -104 -10 -100 -6
rect -84 -10 -80 -6
rect -162 -31 -161 -27
rect -154 -30 -143 -26
rect -154 -35 -150 -30
rect -135 -35 -131 -12
rect -71 -15 -67 11
rect -60 -4 -59 0
rect -125 -32 -83 -28
rect -125 -35 -121 -32
rect -87 -35 -83 -32
rect -165 -50 -161 -39
rect -144 -43 -140 -39
rect -125 -43 -121 -39
rect -144 -47 -121 -43
rect -71 -35 -67 -20
rect -50 -26 -46 11
rect -40 2 -36 11
rect 17 2 21 11
rect -40 -3 21 2
rect 42 3 46 11
rect 42 -1 54 3
rect -31 -7 -27 -3
rect -19 -12 -18 -8
rect 0 -10 4 -7
rect 20 -10 24 -6
rect 52 -11 56 -1
rect -58 -31 -57 -27
rect -50 -30 -39 -26
rect -50 -35 -46 -30
rect -31 -35 -27 -12
rect 33 -15 56 -11
rect 61 -12 65 11
rect 349 19 353 24
rect 375 19 379 24
rect 394 19 398 24
rect 413 19 417 24
rect 429 19 433 24
rect 448 19 452 24
rect 474 19 478 24
rect 523 19 527 24
rect 83 -5 87 11
rect 83 -8 104 -5
rect 61 -15 84 -12
rect 33 -18 37 -15
rect 61 -18 65 -15
rect 92 -18 96 -8
rect 111 -6 115 11
rect 137 3 141 11
rect 137 -1 149 3
rect 147 -11 151 -1
rect 111 -18 115 -11
rect 128 -15 151 -11
rect 156 -10 160 11
rect 181 3 185 11
rect 200 3 204 11
rect 181 -1 204 3
rect 200 -8 204 -1
rect 218 -6 222 11
rect 230 -2 236 1
rect 254 -2 256 2
rect 254 -6 257 -2
rect 156 -15 159 -10
rect 200 -12 211 -8
rect 218 -9 257 -6
rect 263 -8 267 11
rect 128 -18 132 -15
rect 156 -18 160 -15
rect 200 -18 204 -12
rect 218 -18 222 -9
rect 263 -12 274 -8
rect 244 -15 267 -12
rect 244 -18 248 -15
rect 263 -18 267 -15
rect 281 -18 285 11
rect 309 -1 313 11
rect 329 -1 333 11
rect 309 -4 343 -1
rect 339 -8 343 -4
rect 339 -12 350 -8
rect 339 -18 343 -12
rect 357 -18 361 11
rect 384 3 388 11
rect 403 3 407 11
rect 384 -1 407 3
rect 403 -8 407 -1
rect 403 -12 414 -8
rect 421 -9 425 11
rect 438 3 442 11
rect 438 -1 450 3
rect 403 -18 407 -12
rect 448 -11 452 -1
rect 421 -18 425 -14
rect 429 -15 452 -11
rect 457 -11 461 11
rect 476 -2 485 1
rect 513 -8 517 11
rect 531 -2 535 11
rect 531 -6 537 -2
rect 457 -15 475 -11
rect 513 -12 524 -8
rect 483 -15 517 -12
rect 429 -18 433 -15
rect 457 -18 461 -15
rect 483 -18 487 -15
rect 504 -18 508 -15
rect 531 -18 535 -6
rect 52 -26 56 -22
rect 83 -26 87 -22
rect 102 -26 106 -22
rect 147 -26 151 -22
rect 172 -26 176 -22
rect 210 -26 214 -22
rect 235 -26 239 -22
rect 254 -26 258 -22
rect 273 -26 277 -22
rect 300 -26 304 -22
rect 349 -26 353 -22
rect 375 -26 379 -22
rect 413 -26 417 -22
rect 448 -26 452 -22
rect 474 -26 478 -22
rect 493 -26 497 -22
rect 513 -26 517 -22
rect 523 -26 527 -22
rect 540 -26 543 65
rect -21 -32 21 -28
rect -21 -35 -17 -32
rect 17 -35 21 -32
rect -106 -50 -102 -39
rect -84 -46 -82 -42
rect -61 -50 -57 -39
rect -40 -43 -36 -39
rect -21 -43 -17 -39
rect -40 -47 -17 -43
rect 36 -30 61 -26
rect 65 -30 82 -26
rect 86 -30 111 -26
rect 115 -30 127 -26
rect 131 -30 156 -26
rect 160 -30 171 -26
rect 175 -30 200 -26
rect 204 -30 222 -26
rect 226 -30 235 -26
rect 239 -30 263 -26
rect 267 -30 285 -26
rect 289 -30 300 -26
rect 304 -30 330 -26
rect 334 -30 361 -26
rect 365 -30 374 -26
rect 378 -30 403 -26
rect 407 -30 425 -26
rect 429 -30 433 -26
rect 437 -30 457 -26
rect 461 -30 474 -26
rect 478 -30 504 -26
rect 508 -30 535 -26
rect 539 -30 543 -26
rect -2 -50 2 -39
rect 32 -50 36 -30
rect 54 -37 183 -34
rect 203 -34 301 -33
rect 203 -36 293 -34
rect 59 -42 64 -37
rect 184 -42 187 -37
rect 298 -36 301 -34
rect 312 -42 315 -37
rect 383 -37 386 -34
rect 495 -37 498 -34
rect 184 -45 315 -42
rect -165 -54 -163 -50
rect -159 -54 -145 -50
rect -141 -54 -112 -50
rect -108 -54 -82 -50
rect -78 -54 -61 -50
rect -57 -54 -41 -50
rect -37 -54 -8 -50
rect -4 -54 22 -50
rect 26 -54 36 -50
<< m2contact >>
rect -127 86 -122 91
rect -107 114 -102 119
rect -23 115 -18 120
rect -79 107 -74 112
rect -66 107 -61 112
rect -111 88 -106 93
rect -44 104 -39 109
rect -24 100 -19 105
rect 22 86 27 91
rect 42 114 47 119
rect 126 115 131 120
rect 70 107 75 112
rect 83 107 88 112
rect 38 88 43 93
rect 105 104 110 109
rect 125 100 130 105
rect 13 79 18 84
rect 171 91 176 96
rect 191 114 196 119
rect 275 115 280 120
rect 219 107 224 112
rect 232 107 237 112
rect 162 81 167 86
rect 187 88 192 93
rect 254 104 259 109
rect 274 100 279 105
rect 320 91 325 96
rect 340 114 345 119
rect 416 115 421 120
rect 368 107 373 112
rect 381 107 386 112
rect 311 80 316 85
rect 336 88 341 93
rect 399 104 404 109
rect 415 100 420 105
rect 472 114 477 119
rect 460 99 465 104
rect 500 107 505 112
rect 513 107 518 112
rect 531 108 536 113
rect 544 108 549 113
rect 450 77 455 82
rect 56 56 61 61
rect 186 57 191 62
rect 311 57 316 62
rect 357 57 362 62
rect 111 49 116 54
rect 174 41 179 46
rect 396 50 401 55
rect 327 41 332 46
rect 360 41 365 46
rect 312 33 317 38
rect 419 42 424 47
rect 419 33 424 38
rect 498 31 503 36
rect -163 -5 -158 0
rect -175 -20 -170 -15
rect -135 -12 -130 -7
rect -122 -12 -117 -7
rect -100 -11 -95 -6
rect -80 -11 -75 -6
rect -167 -31 -162 -26
rect -59 -4 -54 1
rect -72 -20 -67 -15
rect -31 -12 -26 -7
rect -18 -12 -13 -7
rect 4 -11 9 -6
rect 24 -11 29 -6
rect -63 -31 -58 -26
rect 111 -11 116 -6
rect 225 -2 230 3
rect 159 -15 164 -10
rect 361 -3 366 2
rect 421 -14 426 -9
rect 471 -3 476 2
rect -82 -47 -77 -42
rect 59 -47 64 -42
rect 293 -39 298 -34
rect 378 -38 383 -33
rect 490 -39 495 -34
<< metal2 >>
rect -129 116 -107 119
rect -102 116 -23 119
rect -63 115 -23 116
rect 20 116 42 119
rect -63 112 -59 115
rect 47 116 126 119
rect 86 115 126 116
rect 169 116 191 119
rect 86 112 90 115
rect 196 116 275 119
rect 235 115 275 116
rect 318 116 340 119
rect 235 112 239 115
rect 345 116 416 119
rect 384 115 416 116
rect 460 116 472 119
rect 384 112 388 115
rect 477 116 520 119
rect 516 112 520 116
rect -129 107 -79 110
rect -61 107 -59 112
rect 62 107 70 110
rect 88 107 90 112
rect -44 103 -40 104
rect -126 100 -40 103
rect 211 107 219 110
rect 237 107 239 112
rect 105 100 109 104
rect -126 91 -123 100
rect -24 91 -21 100
rect 23 97 109 100
rect 361 108 368 111
rect 386 107 388 112
rect 254 103 258 104
rect 172 100 258 103
rect 398 104 399 107
rect 491 107 500 110
rect 518 107 520 112
rect 398 103 402 104
rect 321 100 402 103
rect 23 91 26 97
rect -106 88 -21 91
rect -102 76 -99 88
rect 125 91 128 100
rect 172 96 175 100
rect 43 88 128 91
rect 274 91 277 100
rect 321 96 324 100
rect 192 88 277 91
rect 415 91 418 100
rect 531 103 534 108
rect 465 100 534 103
rect 341 88 418 91
rect 545 91 548 108
rect 473 88 548 91
rect -129 73 -99 76
rect -163 0 -159 41
rect -58 1 -55 57
rect 13 46 18 79
rect 47 76 50 88
rect 26 73 50 76
rect 57 61 60 71
rect 163 53 166 81
rect 196 76 199 88
rect 175 73 199 76
rect 312 62 315 80
rect 345 76 348 88
rect 357 76 360 77
rect 324 73 348 76
rect 357 62 360 71
rect 191 58 195 61
rect 116 50 396 53
rect 18 42 174 45
rect 179 42 327 45
rect 365 43 419 46
rect 317 34 419 37
rect 451 34 454 77
rect 451 31 498 34
rect -158 -3 -115 0
rect -119 -7 -115 -3
rect -54 -3 -11 0
rect -143 -12 -135 -9
rect -117 -12 -115 -7
rect -15 -7 -11 -3
rect 160 -2 225 1
rect -100 -16 -97 -11
rect -170 -19 -97 -16
rect -80 -28 -77 -11
rect -40 -12 -31 -9
rect -13 -12 -11 -7
rect 29 -10 111 -7
rect 160 -10 163 -2
rect 366 -3 471 0
rect 5 -16 8 -11
rect -67 -19 8 -16
rect -162 -31 -77 -28
rect 24 -28 27 -11
rect -58 -31 27 -28
rect 298 -37 378 -34
rect 422 -34 425 -14
rect 422 -37 490 -34
rect -77 -46 59 -43
<< m3contact >>
rect 455 115 460 120
rect 57 106 62 111
rect 206 107 211 112
rect 356 107 361 112
rect -59 57 -54 62
rect -164 41 -158 46
rect 56 71 61 76
rect 356 71 361 76
rect 195 57 200 62
<< m123contact >>
rect 468 88 473 93
rect 13 41 18 46
rect 285 -7 290 -2
<< metal3 >>
rect 205 112 212 113
rect 56 111 63 112
rect 56 106 57 111
rect 62 106 63 111
rect 205 107 206 112
rect 211 107 212 112
rect 456 111 459 115
rect 361 108 459 111
rect 205 106 212 107
rect 56 105 63 106
rect 57 76 60 105
rect 194 62 201 63
rect 194 61 195 62
rect -54 58 195 61
rect 194 57 195 58
rect 200 61 201 62
rect 209 61 212 106
rect 357 76 360 107
rect 200 58 212 61
rect 200 57 201 58
rect 194 56 201 57
rect -158 42 13 45
rect 469 -3 472 88
rect 290 -6 472 -3
<< labels >>
rlabel metal2 -128 73 -128 76 3 a0
rlabel metal2 -129 116 -129 119 3 b0
rlabel metal1 99 145 99 145 5 vdd
rlabel metal1 79 67 79 67 1 gnd
rlabel metal2 20 116 20 119 1 b1
rlabel metal2 169 116 169 119 1 b2
rlabel metal1 317 110 317 113 1 g2
rlabel metal2 318 116 318 119 1 b3
rlabel metal2 27 73 27 76 1 a1
rlabel metal2 176 73 176 76 1 a2
rlabel metal2 325 73 325 76 1 a3
rlabel metal2 -128 107 -128 110 3 sum0
rlabel metal1 15 93 15 98 1 c1
rlabel m2contact 358 58 361 58 1 p3
rlabel m2contact 113 54 116 54 6 g1
rlabel metal2 -40 -12 -40 -9 1 sum2
rlabel metal2 -143 -12 -143 -9 1 sum1
rlabel metal1 282 -5 284 -5 1 c3
rlabel metal1 113 -3 115 -3 1 c2
rlabel metal1 537 -6 537 -2 1 c4
rlabel space 311 55 315 55 6 g2
rlabel metal2 491 107 491 110 1 sum3
<< end >>
